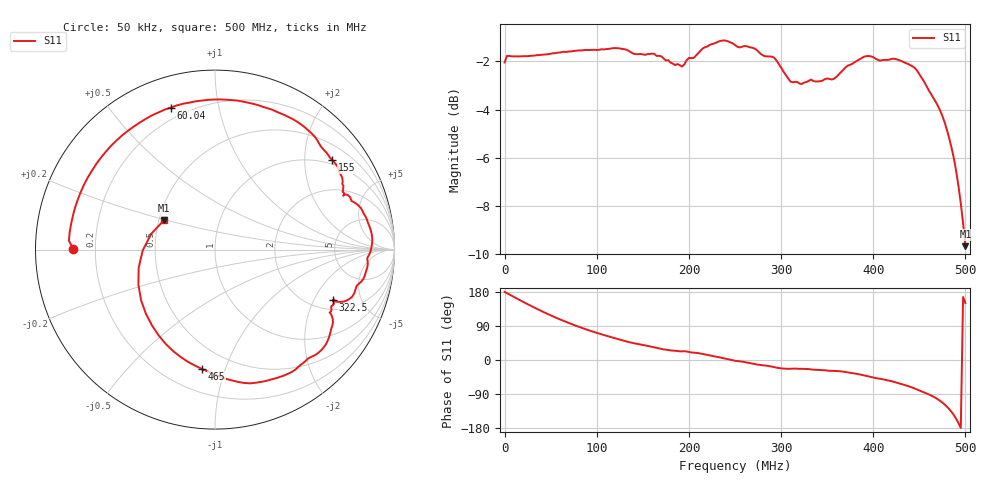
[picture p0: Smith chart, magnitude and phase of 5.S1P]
!Keysight Technologies,E5063A,MY54100949,A.07.00
!Date: Tue Oct 17 16:55:34 2023
!Data & Calibration Information:
!Freq	S11:SOLT1(ON)
# Hz S RI R 50
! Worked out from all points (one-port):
!   201 points, 50 kHz to 500 MHz, reference 50 ohm
!   lowest |S11| = -9.7 dB at 500 MHz (marker M1), VSWR 1.98, Z = 26.6 + j9.72 ohm
!   |S11| at or under -10 dB: nowhere
!   S11 on the Smith chart (normalised r, x): 50 kHz: 0.12, +0.00; 60.04 MHz: 0.14, +0.73; 155 MHz: 0.88, +2.71; 322.5 MHz: 2.48, -2.84; 465 MHz: 0.35, -0.83; 500 MHz: 0.53, +0.19
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50000  -0.7904 0.00396
7549250  -0.8015 0.1437
2.254775e7  -0.7081 0.4031
4.0046e7  -0.517 0.6367
6.0044e7  -0.2461 0.7917
6.254375e7  -0.2103 0.8041
8.754125e7  0.1229 0.8304
1.250375e8  0.4999 0.6818
1.550345e8  0.6541 0.499
1.875312e8  0.7177 0.317
2.125288e8  0.7991 0.2458
2.350265e8  0.8723 0.0909
2.50025e8  0.859 -0.0285
2.70023e8  0.8344 -0.1459
2.975202e8  0.7315 -0.2848
3.125188e8  0.6633 -0.2774
3.225178e8  0.6554 -0.2812
3.60014e8  0.6448 -0.3581
3.750125e8  0.6496 -0.435
3.90011e8  0.6179 -0.5277
4.175082e8  0.4653 -0.6521
4.375062e8  0.288 -0.7308
4.50005e8  0.1265 -0.7368
4.650035e8  -0.0741 -0.6645
4.775022e8  -0.2736 -0.5264
4.875012e8  -0.4118 -0.2825
4.950005e8  -0.4028 -0.00452
5e8  -0.2848 0.1631
